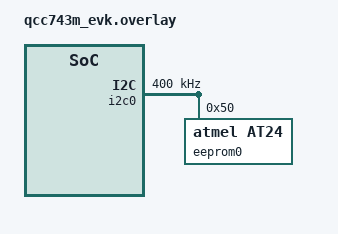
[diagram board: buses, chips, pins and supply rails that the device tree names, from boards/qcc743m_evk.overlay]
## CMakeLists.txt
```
# Copyright (c) 2026 Qualcomm Technologies, Inc. and/or its subsidiaries
# SPDX-License-Identifier: Apache-2.0

cmake_minimum_required(VERSION 3.20.0)
find_package(Zephyr REQUIRED HINTS $ENV{ZEPHYR_BASE})
project(test_i2c_eeprom)
target_sources(app PRIVATE src/main.c)
```

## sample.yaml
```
# Copyright (c) 2026 Qualcomm Technologies, Inc. and/or its subsidiaries
# SPDX-License-Identifier: Apache-2.0

common:
  build_only: true
  depends_on: i2c
  tags:
    - drivers
    - i2c
    - eeprom
  extra_dtc_overlay_files:
    - "boards/${BOARD}.overlay"
    # - "eeprom_24lc16b.overlay" # Uncomment if connected EEPROM is 24LC16B-I/P
  platform_allow:
    - qcc743m_evk
    - qcc744m_evk
    - qcc748m_evk
    - qcc75xm_evk

tests:
  qcc7xx.sample.drivers.i2c.eeprom: {}
  qcc7xx.sample.drivers.i2c.eeprom.dma:
    extra_dtc_overlay_files:
      - "i2c_dma.overlay"
    extra_configs:
      - CONFIG_I2C_QCC74X_DMA=y
  qcc7xx.sample.drivers.i2c.eeprom.async:
    extra_configs:
      - CONFIG_EEPROM_USE_I2C_CALLBACK=y
  qcc7xx.sample.drivers.i2c.eeprom.async_dma:
    extra_dtc_overlay_files:
      - "i2c_dma.overlay"
    extra_configs:
      - CONFIG_I2C_QCC74X_DMA=y
      - CONFIG_EEPROM_USE_I2C_CALLBACK=y
```

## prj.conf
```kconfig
# Copyright (c) 2026 Qualcomm Technologies, Inc. and/or its subsidiaries
# SPDX-License-Identifier: BSD-3-Clause

# Enable subsystems
CONFIG_I2C=y
CONFIG_EEPROM=y

# Enable logging
CONFIG_LOG=y
CONFIG_CBPRINTF_FP_SUPPORT=y
CONFIG_LOG_MODE_IMMEDIATE=y
CONFIG_EEPROM_LOG_LEVEL_WRN=y
CONFIG_I2C_LOG_LEVEL_WRN=y

# Optimization
CONFIG_SPEED_OPTIMIZATIONS=y

CONFIG_ENTROPY_GENERATOR=y
```

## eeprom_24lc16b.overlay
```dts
/*
 * Copyright (c) 2026 Qualcomm Technologies, Inc. and/or its subsidiaries
 *
 * SPDX-License-Identifier: BSD-3-Clause
 */

/* Parameters for 24LC16B-I/P (https://www.microchipdirect.com/product/24LC16B-I/P).
 * Can be taken in use e.g. by EXTRA_DTC_OVERLAY_FILE=some_other.overlay;eeprom_24lc16b.overlay. */
&eeprom0 {
	compatible = "atmel,at24";
	size = <DT_SIZE_K(2)>;
	pagesize = <16>;
	address-width = <8>;
	timeout = <5>;
};
```

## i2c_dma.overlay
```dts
/*
 * Copyright (c) 2025 Qualcomm Technologies, Inc. and/or its subsidiaries
 *
 * SPDX-License-Identifier: Apache-2.0
 */

&dma {
	status = "okay";
};
```

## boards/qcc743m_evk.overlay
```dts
/*
 * Copyright (c) 2026 Qualcomm Technologies, Inc. and/or its subsidiaries
 *
 * SPDX-License-Identifier: BSD-3-Clause
 */

/ {

	aliases {
		eeprom0 = &eeprom0;
	};

	chosen {
		zephyr,eeprom = &eeprom0;
	};
};

&pinctrl {
	status = "okay";
	i2c0_default: i2c0_default {
		group1 {
			pinmux = <GPIO30_I2C0_SCL>,
				 <GPIO29_I2C0_SDA>;
			bias-pull-up;
			drive-strength = <1>;
			input-schmitt-enable;
			input-enable;
		};
	};
};

&i2c0 {
	status = "okay";
	clock-frequency = <I2C_BITRATE_FAST>;
	pinctrl-0 = <&i2c0_default>;
	pinctrl-names = "default";
	eeprom0: eeprom@50 {
		compatible = "atmel,at24";
		reg = <0x50>;
		status = "okay";
		size = <DT_SIZE_K(32)>;
		pagesize = <64>;
		address-width = <16>;
		timeout = <5>;
	};
};
```

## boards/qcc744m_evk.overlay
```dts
/*
 * Copyright (c) 2026 Qualcomm Technologies, Inc. and/or its subsidiaries
 *
 * SPDX-License-Identifier: BSD-3-Clause
 */

/ {

	aliases {
		eeprom0 = &eeprom0;
	};

	chosen {
		zephyr,eeprom = &eeprom0;
	};
};

&pinctrl {
	status = "okay";
	i2c1_default: i2c1_default {
		group1 {
			pinmux = <GPIO18_I2C1_SCL>,
				 <GPIO19_I2C1_SDA>;
			bias-pull-up;
			drive-strength = <1>;
			input-schmitt-enable;
			input-enable;
		};
	};
};

&i2c1 {
	status = "okay";
	clock-frequency = <I2C_BITRATE_FAST>;
	pinctrl-0 = <&i2c1_default>;
	pinctrl-names = "default";
	eeprom0: eeprom@50 {
		compatible = "atmel,at24";
		reg = <0x50>;
		status = "okay";
		size = <DT_SIZE_K(32)>;
		pagesize = <64>;
		address-width = <16>;
		timeout = <5>;
	};
};
```

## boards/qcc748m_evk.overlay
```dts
/*
 * Copyright (c) 2026 Qualcomm Technologies, Inc. and/or its subsidiaries
 *
 * SPDX-License-Identifier: BSD-3-Clause
 */

/ {

	aliases {
		eeprom0 = &eeprom0;
	};

	chosen {
		zephyr,eeprom = &eeprom0;
	};
};

&pinctrl {
	status = "okay";
	i2c1_default: i2c1_default {
		group1 {
			pinmux = <I2C1_SCL_GPIO18>,
				 <I2C1_SDA_GPIO19>;
			bias-pull-up;
			drive-strength = <1>;
			input-schmitt-enable;
			input-enable;
		};
	};
};

&i2c1 {
	status = "okay";
	clock-frequency = <I2C_BITRATE_FAST>;
	pinctrl-0 = <&i2c1_default>;
	pinctrl-names = "default";
	eeprom0: eeprom@50 {
		compatible = "atmel,at24";
		reg = <0x50>;
		status = "okay";
		size = <DT_SIZE_K(32)>;
		pagesize = <64>;
		address-width = <16>;
		timeout = <5>;
	};
};
```

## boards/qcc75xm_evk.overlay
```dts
/*
 * Copyright (c) 2025 Qualcomm Technologies, Inc. and/or its subsidiaries
 *
 * SPDX-License-Identifier: Apache-2.0
 */

/ {

	aliases {
		eeprom0 = &eeprom0;
	};

	chosen {
		zephyr,eeprom = &eeprom0;
	};
};

&pinctrl {
	status = "okay";
	i2c1_default: i2c1_default {
		group1 {
			pinmux = <GPIO18_I2C1_SCL>,
				 <GPIO19_I2C1_SDA>;
			bias-pull-up;
			drive-strength = <1>;
			input-schmitt-enable;
			input-enable;
		};
	};
};

&i2c1 {
	status = "okay";
	clock-frequency = <I2C_BITRATE_FAST>;
	pinctrl-0 = <&i2c1_default>;
	pinctrl-names = "default";
	eeprom0: eeprom@50 {
		compatible = "atmel,at24";
		reg = <0x50>;
		status = "okay";
		size = <DT_SIZE_K(32)>;
		pagesize = <64>;
		address-width = <16>;
		timeout = <5>;
	};
};
```

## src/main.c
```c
/*
 * Copyright (c) 2026 Qualcomm Technologies, Inc. and/or its subsidiaries
 * SPDX-License-Identifier: Apache-2.0
 */

#include <zephyr/kernel.h>
#include <zephyr/device.h>
#include <zephyr/drivers/eeprom.h>
#include <zephyr/logging/log.h>
#include <zephyr/random/random.h>
#include <zephyr/sys/util.h>

LOG_MODULE_REGISTER(eeprom_test, LOG_LEVEL_INF);

#define EEPROM_NODE DT_CHOSEN(zephyr_eeprom)

#define EEPROM_PAGE_SIZE DT_PROP(EEPROM_NODE, pagesize)
#define EEPROM_MAX_RETRIES 8
static uint8_t __attribute((aligned(32))) write_buf[EEPROM_PAGE_SIZE];
static uint8_t __attribute((aligned(32))) read_buf[EEPROM_PAGE_SIZE];

static double calculate_throughput_kbps(uint64_t total_bytes, uint32_t op_start_ms,
					uint32_t op_end_ms, uint32_t excluded_ms)
{
	uint32_t active_ms = op_end_ms - op_start_ms - excluded_ms;
	double elapsed_seconds = active_ms / 1000.0;

	if (elapsed_seconds <= 0.0) {
		elapsed_seconds = 0.001;
	}

	return (total_bytes / 1024.0) / elapsed_seconds;
}

static int write_eeprom_pattern(const struct device *eeprom, size_t eeprom_size,
				uint8_t pattern_seed, size_t *bytes_written,
				double *throughput_kbps)
{
	off_t eeprom_offset = 0;
	int status;
	uint32_t pattern_gen_ms = 0;
	uint32_t op_start_ms = k_uptime_get_32();
	uint64_t total_bytes_written = 0;
	uint8_t write_error_count = 0;

	while (eeprom_offset < eeprom_size) {
		size_t page_chunk_size = MIN(EEPROM_PAGE_SIZE, eeprom_size - eeprom_offset);

		/* Fill write buffer with pattern based on offset */
		/* Exclude pattern generation time from benchmark */
		uint32_t pattern_gen_start_ms = k_uptime_get_32();
		for (size_t i = 0; i < page_chunk_size; i++) {
			write_buf[i] = (uint8_t)((eeprom_offset + i + pattern_seed) % 256);
		}
		pattern_gen_ms += (k_uptime_get_32() - pattern_gen_start_ms);

		uint32_t write_start_ms = k_uptime_get_32();
		status = eeprom_write(eeprom, eeprom_offset, write_buf, page_chunk_size);
		if (status != 0) {
			double write_elapsed_seconds =
				(k_uptime_get_32() - write_start_ms) / 1000.0;
			LOG_ERR("Write failed at offset %zu: elapsed %.6f s, error %d",
				(size_t)eeprom_offset, write_elapsed_seconds, status);
			write_error_count++;
			if (write_error_count >= EEPROM_MAX_RETRIES) {
				return status;
			}
		}

		eeprom_offset += page_chunk_size;
		total_bytes_written += page_chunk_size;
	}

	*throughput_kbps = calculate_throughput_kbps(total_bytes_written, op_start_ms,
						     k_uptime_get_32(), pattern_gen_ms);
	*bytes_written = (size_t)eeprom_offset;

	return 0;
}

static int read_verify_eeprom_pattern(const struct device *eeprom, size_t eeprom_size,
				      uint8_t pattern_seed, size_t *bytes_read,
				      double *throughput_kbps)
{
	off_t eeprom_offset = 0;
	int status;
	uint64_t total_bytes_read = 0;
	uint32_t pattern_verify_ms = 0;
	uint32_t op_start_ms = k_uptime_get_32();
	uint8_t read_error_count = 0;

	while (eeprom_offset < eeprom_size) {
		size_t page_chunk_size = MIN(EEPROM_PAGE_SIZE, eeprom_size - eeprom_offset);

		status = eeprom_read(eeprom, eeprom_offset, read_buf, page_chunk_size);
		if (status != 0) {
			LOG_ERR("Read failed at offset %zu: error %d", (size_t)eeprom_offset,
				status);
			read_error_count++;
			if (read_error_count >= EEPROM_MAX_RETRIES) {
				return status;
			}
		}

		/* Verify the read data matches the written pattern */
		/* Exclude pattern generation time from benchmark */
		uint32_t verify_start_ms = k_uptime_get_32();
		for (size_t i = 0; i < page_chunk_size; i++) {
			uint8_t expected_byte = (uint8_t)((eeprom_offset + i + pattern_seed) % 256);
			if (read_buf[i] != expected_byte) {
				LOG_ERR("Data mismatch at address %zu: expected %u, got %u",
					(size_t)(eeprom_offset + i), expected_byte, read_buf[i]);
				return -1;
			}
		}

		eeprom_offset += page_chunk_size;
		pattern_verify_ms += (k_uptime_get_32() - verify_start_ms);
		total_bytes_read += page_chunk_size;
	}

	*throughput_kbps = calculate_throughput_kbps(total_bytes_read, op_start_ms,
						     k_uptime_get_32(), pattern_verify_ms);
	*bytes_read = (size_t)eeprom_offset;

	return 0;
}

int main(void)
{
	int status;
	uint8_t pattern_seed = (uint8_t)sys_rand32_get();

	/*
	 * Get the EEPROM device. This assumes the DTS has a chosen node 'zephyr,eeprom'.
	 * Adjust if your board uses a different label, e.g., DEVICE_DT_GET(DT_NODELABEL(eeprom0)).
	 */
	const struct device *const eeprom = DEVICE_DT_GET(EEPROM_NODE);

	if (!device_is_ready(eeprom)) {
		LOG_ERR("EEPROM device is not ready");
		return 0;
	}

	/* Read EEPROM size */
	size_t eeprom_size = eeprom_get_size(eeprom);
	LOG_INF("EEPROM total size: %zu bytes", eeprom_size);
	LOG_INF("EEPROM page size: %d bytes", DT_PROP(EEPROM_NODE, pagesize));
	LOG_INF("Pseudo-random pattern seed: %u", pattern_seed);

	/* Write data to EEPROM in page-size chunks with a repeating pattern (0-255) */
	LOG_INF("Starting EEPROM write operation");
	double throughput_kbps = 0;
	size_t total_bytes_written = 0;
	status = write_eeprom_pattern(eeprom, eeprom_size, pattern_seed, &total_bytes_written,
				      &throughput_kbps);
	if (status != 0) {
		return 0;
	}

	LOG_INF("EEPROM write complete: %zu bytes written", total_bytes_written);
	LOG_INF("Write throughput: %.2f KB/s", throughput_kbps);

	/* Read back and verify the data in page-size chunks */
	LOG_INF("Starting EEPROM read and verify operation");
	size_t total_bytes_read = 0;
	status = read_verify_eeprom_pattern(eeprom, eeprom_size, pattern_seed, &total_bytes_read,
					    &throughput_kbps);
	if (status != 0) {
		return 0;
	}

	LOG_INF("EEPROM read and verify complete: %zu bytes checked, all data matches",
		total_bytes_read);
	LOG_INF("Read throughput: %.2f KB/s", throughput_kbps);

	LOG_INF("EEPROM test completed successfully");

	return 0;
}
```
